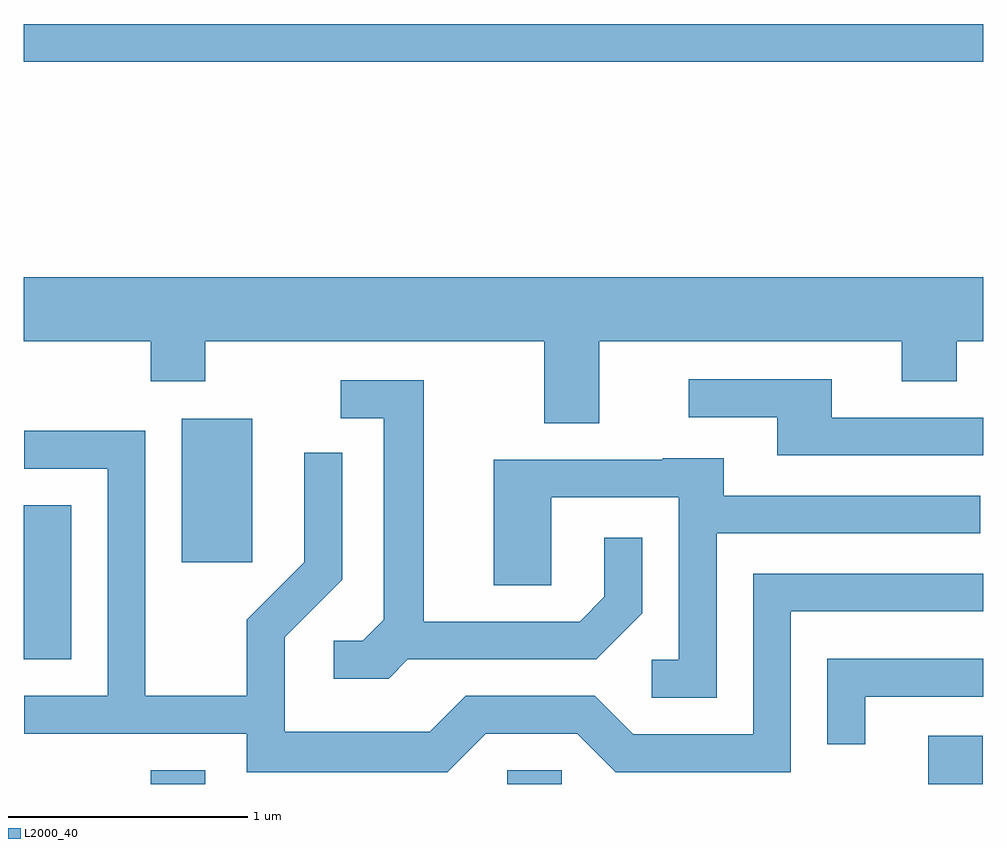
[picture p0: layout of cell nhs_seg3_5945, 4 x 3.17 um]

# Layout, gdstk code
import gdstk
lib = gdstk.Library(unit=1e-6, precision=1e-09)
def R(c, l, rs):  # rectangles x0, y0, x1, y1
    for r in rs: c.add(gdstk.rectangle(r[:2], r[2:], *l))
def P(c, l, *ps):  # polygons
    for p in ps: c.add(gdstk.Polygon(p, *l))
L2000_40 = (2000, 40)

nhs_seg3_5945 = lib.new_cell('nhs_seg3_5945')
R(nhs_seg3_5945, L2000_40, [(360.141,1181.892,360.369,1181.949), (361.626,1181.892,361.854,1181.949), (363.381,1181.892,363.609,1182.094), (359.611,1182.411,359.809,1183.054), (360.271,1182.816,360.564,1183.414), (359.611,1184.901,363.611,1185.059)])
P(nhs_seg3_5945, L2000_40, [(362.009,1183.736),(363.271,1183.736),(363.271,1183.571),(363.499,1183.571),(363.499,1183.736),(363.611,1183.736),(363.611,1184.004),(359.611,1184.004),(359.611,1183.736),(360.141,1183.736),(360.141,1183.571),(360.369,1183.571),(360.369,1183.736),(361.781,1183.736),(361.781,1183.396),(362.009,1183.396)],
  [(363.611,1183.419),(362.979,1183.419),(362.979,1183.579),(362.383,1183.579),(362.383,1183.421),(362.751,1183.421),(362.751,1183.261),(363.611,1183.261)],
  [(361.212,1182.411),(361.997,1182.411),(362.189,1182.604),(362.189,1182.918),(362.031,1182.918),(362.031,1182.672),(361.929,1182.569),(361.279,1182.569),(361.279,1183.574),(360.933,1183.574),(360.933,1183.416),(361.111,1183.416),(361.111,1182.577),(361.024,1182.489),(360.903,1182.489),(360.903,1182.331),(361.132,1182.331)],
  [(361.537,1182.101),(361.919,1182.101),(362.079,1181.941),(362.809,1181.941),(362.809,1182.611),(363.611,1182.611),(363.611,1182.769),(362.651,1182.769),(362.651,1182.099),(362.152,1182.099),(361.992,1182.259),(361.454,1182.259),(361.304,1182.109),(360.699,1182.109),(360.699,1182.504),(360.939,1182.744),(360.939,1183.273),(360.781,1183.273),(360.781,1182.817),(360.541,1182.577),(360.541,1182.259),(360.119,1182.259),(360.119,1183.364),(359.613,1183.364),(359.613,1183.206),(359.961,1183.206),(359.961,1182.259),(359.613,1182.259),(359.613,1182.101),(360.541,1182.101),(360.541,1181.941),(361.377,1181.941)],
  [(362.499,1182.936),(363.598,1182.936),(363.598,1183.094),(362.529,1183.094),(362.529,1183.249),(362.275,1183.249),(362.275,1183.244),(361.571,1183.244),(361.571,1182.721),(361.809,1182.721),(361.809,1183.086),(362.341,1183.086),(362.341,1182.409),(362.228,1182.409),(362.228,1182.251),(362.499,1182.251)],
  [(363.119,1182.256),(363.611,1182.256),(363.611,1182.414),(362.961,1182.414),(362.961,1182.058),(363.119,1182.058)])

lib.write_gds('nhs_seg3_5945.gds')
